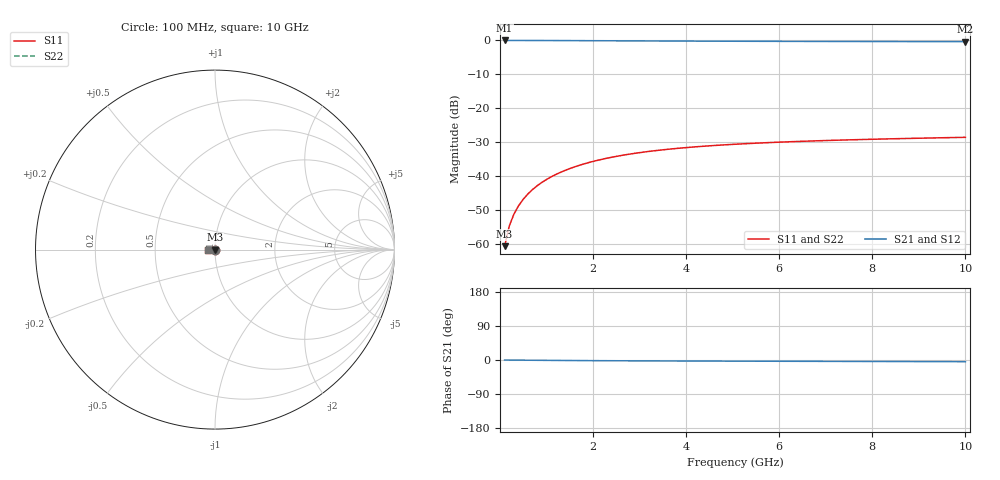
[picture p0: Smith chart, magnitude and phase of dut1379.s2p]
! Touchstone file exported from HFSS 2024.1.0
!  File:  C:/UserFiles/LocalFiles/RDL_TSV_Batchsim/temp_TSV1_1379_1780380110.aedt
!  Generated:  02:05:59 PM Jun  2, 2026
!  Design:  TSV1
!  Project:  temp_TSV1_1379_1780380110
!  Setup:  Setup1
!  Solution:  Sweep
! Variables:
!  dtsv = 8.29um
!  hbump = 3um
!  htsv = 68.6um
!  lrdl = 252.1521522um
!  p = 40
!  p1 = 41.67um
!  t = 500um
!  trdl = 3um
!  wrdl = 24.89489489um
# GHz S MA R 50.000000
! Terminal data exported
! Port[1] = TSV22_T1
! Port[2] = TSV22_T2
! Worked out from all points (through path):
!   100 points, 100 MHz to 10 GHz, reference 50 ohm
!   highest |S21| = 0.00 dB at 100 MHz (marker M1); lowest = -0.3 dB at 10 GHz (marker M2)
!   lowest |S11| = -60.7 dB at 100 MHz (marker M3), VSWR 1.00, Z = 50 - j0.0909 ohm
!   |S11| at or under -10 dB: start of sweep to end of sweep
!   |S22| runs from -60.7 to -28.6 dB; largest |S21 - S12| = 4.9e-15
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0.1  0.0009243 -79.5  0.9998 -0.1  0.9998 -0.1  0.0009243 -79.5
! Gamma 0 0 0 0
! Port Impedance 50 0 50 0
0.2  0.001831 -86.9  0.9997 -0.2  0.9997 -0.2  0.001831 -86.9
0.3  0.002741 -90.6  0.9995 -0.3  0.9995 -0.3  0.002741 -90.6
0.4  0.003648 -93.3  0.9993 -0.4  0.9993 -0.4  0.003648 -93.3
0.5  0.004548 -95.5  0.9991 -0.5  0.9991 -0.5  0.004548 -95.5
0.6  0.00544 -97.6  0.9988 -0.6  0.9988 -0.6  0.00544 -97.6
0.7  0.006322 -99.5  0.9985 -0.7  0.9985 -0.7  0.006322 -99.5
0.8  0.007193 -101.3  0.9981 -0.8  0.9981 -0.8  0.007193 -101.3
0.9  0.008052 -103.0  0.9977 -0.8  0.9977 -0.8  0.008052 -103.0
1.1  0.009728 -106.4  0.9968 -1.0  0.9968 -1.0  0.009728 -106.4
1.4  0.01212 -111.1  0.9951 -1.3  0.9951 -1.3  0.01212 -111.1
1.6  0.01363 -114.1  0.9939 -1.4  0.9939 -1.4  0.01363 -114.1
1.8  0.01507 -117.0  0.9926 -1.6  0.9926 -1.6  0.01507 -117.0
2.1  0.01708 -121.2  0.9906 -1.8  0.9906 -1.8  0.01708 -121.2
2.5  0.01951 -126.3  0.9879 -2.0  0.9879 -2.0  0.01951 -126.3
2.9  0.02165 -131.1  0.9852 -2.2  0.9852 -2.2  0.02165 -131.1
3.4  0.02396 -136.5  0.982 -2.4  0.982 -2.4  0.02396 -136.5
4.2  0.02697 -144.1  0.9775 -2.8  0.9775 -2.8  0.02697 -144.1
5.1  0.02957 -151.4  0.9732 -3.1  0.9732 -3.1  0.02957 -151.4
6.7  0.03291 -162.0  0.9676 -3.5  0.9676 -3.5  0.03291 -162.0
8.4  0.0354 -170.9  0.9636 -4.0  0.9636 -4.0  0.0354 -170.9
10  0.03725 -178.0  0.9609 -4.4  0.9609 -4.4  0.03725 -178.0
